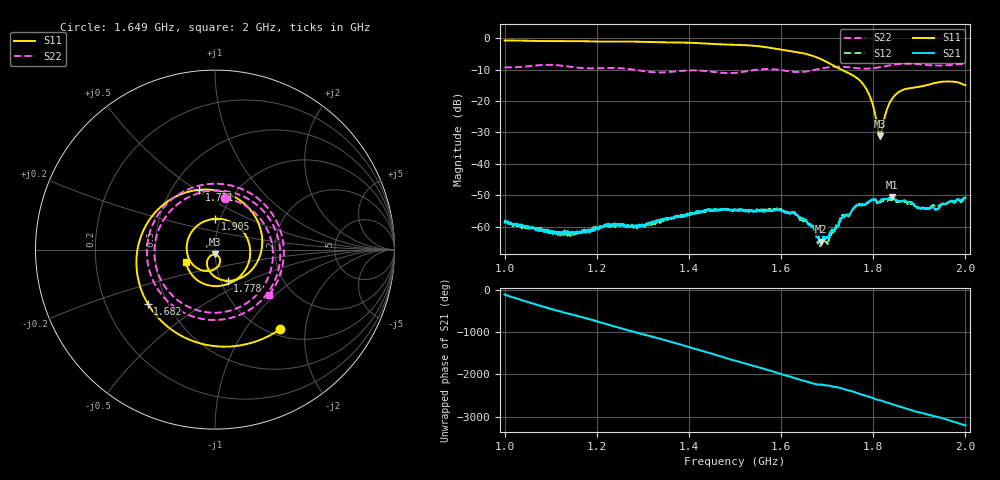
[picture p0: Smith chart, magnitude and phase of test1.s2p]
!Keysight Technologies N9923A: A.08.15
!Date: Wednesday, 14 February 2024 18:08:10
!Timezone: (GMT-05:00) Eastern Time (US & Canada)
!Model: N9923A
!Serial: MY52412730
!GPS Latitude:
!GPS Longitude:
!GPS TimeStamp: 0001-01-01 00:00:00Z
!GPS Seconds Since Last Read: 0
!CHECKSUM:2033111267
!Correction: S11(ON Q)S21(ON Q)S12(ON Q)S22(ON Q)
!S2P File: Measurements:S11,S21,S12,S22:
# Hz S DB R 50
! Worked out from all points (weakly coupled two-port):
!   1601 points, 1 GHz to 2 GHz, reference 50 ohm
!   highest |S21| = -50.68 dB at 1.84 GHz (marker M1); lowest = -64.8 dB at 1.686 GHz (marker M2)
!   lowest |S11| = -31.3 dB at 1.814 GHz (marker M3), VSWR 1.06, Z = 49.7 - j2.71 ohm
!   |S11| at or under -10 dB: 1.731 GHz to end of sweep
!   |S22| runs from -11.1 to -8.1 dB; largest |S21 - S12| = 0.00031
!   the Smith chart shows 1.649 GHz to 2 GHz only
!   S11 on the Smith chart (normalised r, x): 1.649 GHz: 1.12, -1.47; 1.682 GHz: 0.39, -0.30; 1.721 GHz: 0.68, +0.51; 1.778 GHz: 1.08, -0.39; 1.905 GHz: 0.94, +0.33; 2 GHz: 0.71, -0.10
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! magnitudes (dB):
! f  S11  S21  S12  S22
! 1 GHz  -0.7  -58.7  -58.0  -9.3
! 1.123 GHz  -0.9  -62.2  -62.3  -8.7
! 1.167 GHz  -1.0  -61.9  -61.5  -9.5
! 1.334 GHz  -1.3  -58.2  -58.6  -10.9
! 1.5 GHz  -2.1  -54.7  -54.8  -11.0
! 1.596 GHz  -3.5  -54.6  -54.5  -10.1
! 1.649 GHz  -4.8  -57.5  -58.0  -10.7
! 1.667 GHz  -5.5  -59.9  -59.7  -10.3
! 1.682 GHz  -6.4  -63.0  -65.2  -9.8
! 1.686 GHz  -6.6  -64.8  -65.5  -9.7
! 1.701 GHz  -7.7  -63.4  -65.7  -9.3
! 1.721 GHz  -9.2  -60.0  -59.3  -9.1
! 1.732 GHz  -10.1  -57.1  -56.6  -9.1
! 1.778 GHz  -14.5  -53.1  -52.7  -9.7
! 1.796 GHz  -19.6  -51.7  -51.7  -9.6
! 1.814 GHz  -31.3  -51.9  -52.4  -9.2
! 1.834 GHz  -21.2  -50.8  -51.5  -8.7
! 1.84 GHz  -19.5  -50.7  -51.3  -8.5
! 1.863 GHz  -16.5  -51.8  -52.1  -8.2
! 1.905 GHz  -15.3  -54.2  -54.1  -8.4
! 1.939 GHz  -14.1  -54.3  -53.4  -8.7
! 2 GHz  -14.9  -50.7  -50.9  -8.1
